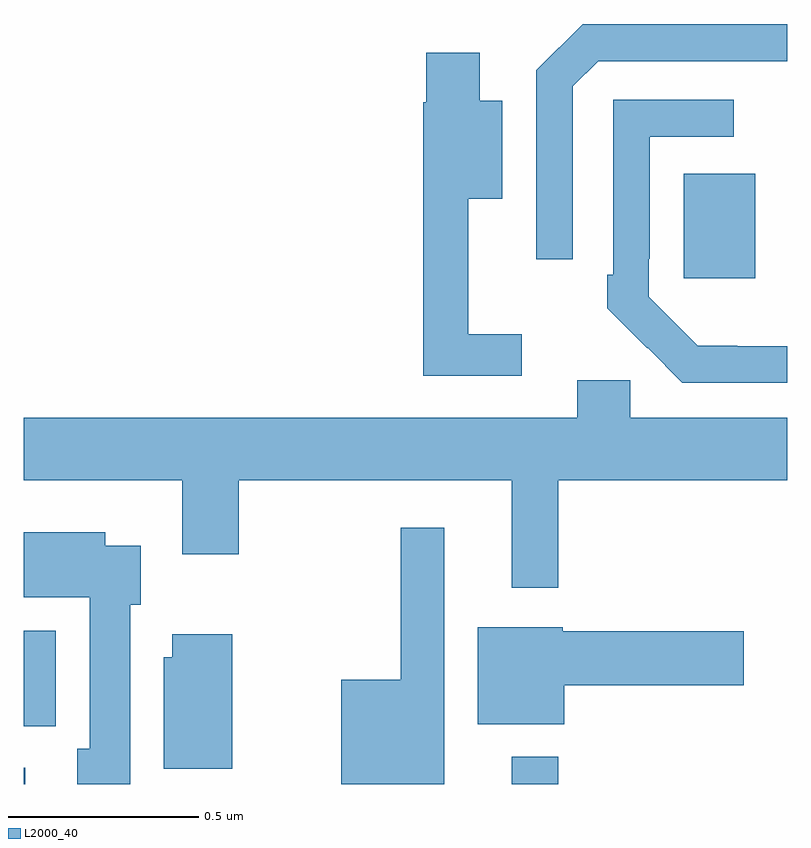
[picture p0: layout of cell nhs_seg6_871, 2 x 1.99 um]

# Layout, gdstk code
import gdstk
lib = gdstk.Library(unit=1e-6, precision=1e-09)
def R(c, l, rs):  # rectangles x0, y0, x1, y1
    for r in rs: c.add(gdstk.rectangle(r[:2], r[2:], *l))
def P(c, l, *ps):  # polygons
    for p in ps: c.add(gdstk.Polygon(p, *l))
L2000_40 = (2000, 40)

nhs_seg6_871 = lib.new_cell('nhs_seg6_871')
R(nhs_seg6_871, L2000_40, [(121,986.5,121.003,986.542), (122.279,986.5,122.401,986.572), (121,986.652,121.083,986.902), (122.729,987.825,122.917,988.099)])
P(nhs_seg6_871, L2000_40, [(122.439,988.329),(122.505,988.395),(123,988.395),(123,988.492),(122.464,988.492),(122.343,988.371),(122.343,987.876),(122.439,987.876)],
  [(122.305,987.679),(122.165,987.679),(122.165,988.034),(122.254,988.034),(122.254,988.291),(122.194,988.291),(122.194,988.417),(122.054,988.417),(122.054,988.287),(122.047,988.287),(122.047,987.57),(122.305,987.57)],
  [(123,987.648),(122.869,987.648),(122.869,987.649),(122.766,987.649),(122.637,987.777),(122.637,987.877),(122.64,987.877),(122.64,988.197),(122.86,988.197),(122.86,988.293),(122.544,988.293),(122.544,987.835),(122.529,987.835),(122.529,987.747),(122.634,987.642),(122.635,987.643),(122.726,987.552),(123,987.552)],
  [(122.401,987.296),(123,987.296),(123,987.46),(122.589,987.46),(122.589,987.558),(122.45,987.558),(122.45,987.46),(121,987.46),(121,987.296),(121.415,987.296),(121.415,987.102),(121.563,987.102),(121.563,987.296),(122.279,987.296),(122.279,987.015),(122.401,987.015)],
  [(122.101,987.172),(121.987,987.172),(121.987,986.773),(121.832,986.773),(121.832,986.5),(122.101,986.5)],
  [(121.279,986.97),(121.306,986.97),(121.306,987.124),(121.213,987.124),(121.213,987.16),(121,987.16),(121,986.99),(121.172,986.99),(121.172,986.593),(121.139,986.593),(121.139,986.5),(121.279,986.5)],
  [(122.416,986.759),(122.887,986.759),(122.887,986.901),(122.412,986.901),(122.412,986.911),(122.189,986.911),(122.189,986.657),(122.416,986.657)],
  [(121.546,986.893),(121.388,986.893),(121.388,986.832),(121.367,986.832),(121.367,986.54),(121.546,986.54)])

lib.write_gds('nhs_seg6_871.gds')
